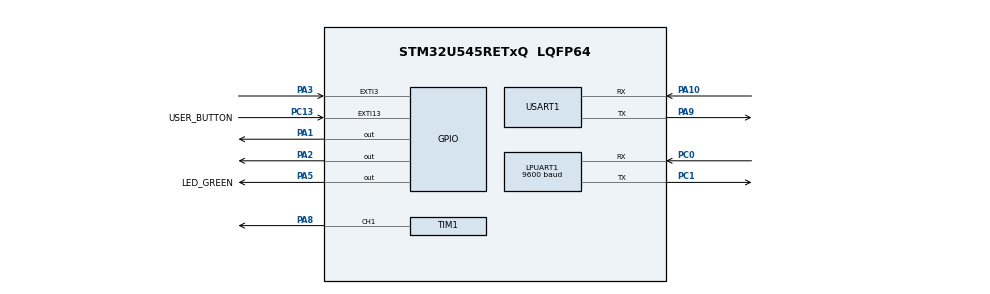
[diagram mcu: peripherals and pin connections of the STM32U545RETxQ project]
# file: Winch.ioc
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CORTEX_M33_NS.userName=CORTEX_M33
LPUART1.BaudRate=9600
Mcu.Family=STM32U5
Mcu.Name=STM32U545RETxQ
Mcu.Package=LQFP64
NVIC.LPUART1_IRQn=true\:0\:0\:false\:false\:true\:true\:true\:true
NVIC.PriorityGroup=NVIC_PRIORITYGROUP_4
NVIC.USART1_IRQn=true\:0\:0\:false\:false\:true\:true\:true\:true
PA1.Signal=GPIO_Output
PA10.Mode=Asynchronous
PA10.Signal=USART1_RX
PA2.Signal=GPIO_Output
PA3.GPIO_ModeDefaultEXTI=GPIO_MODE_IT_FALLING
PA3.GPIO_PuPd=GPIO_PULLUP
PA3.Signal=GPXTI3
PA5.GPIO_Label=LED_GREEN
PA5.GPIO_PuPd=GPIO_PULLUP
PA5.GPIO_Speed=GPIO_SPEED_FREQ_HIGH
PA5.Signal=GPIO_Output
PA8.Signal=S_TIM1_CH1
PA9.Mode=Asynchronous
PA9.Signal=USART1_TX
PC0.Mode=Asynchronous
PC0.Signal=LPUART1_RX
PC1.Mode=Asynchronous
PC1.Signal=LPUART1_TX
PC13.GPIO_Label=USER_BUTTON
PC13.GPIO_ModeDefaultEXTI=GPIO_MODE_IT_FALLING
PC13.GPIO_PuPd=GPIO_PULLDOWN
PC13.Signal=GPXTI13
PWR.PowerMode=PWR_SMPS_SUPPLY
ProjectManager.HeapSize=0x200
ProjectManager.StackSize=0x400
ProjectManager.TargetToolchain=STM32CubeIDE
RCC.ADCFreq_Value=16000000
RCC.DACCLockSelectionVirtual=RCC_DAC1CLKSOURCE_LSI
RCC.DACCLockSelectionVirtualString=RCC_DAC1CLKSOURCE_LSI
RCC.EPOD_VALUE=4000000
RCC.HSE_VALUE=16000000
RCC.HSI48_VALUE=48000000
RCC.HSI_VALUE=16000000
RCC.LSE_VALUE=32768
RCC.LSIDIV_VALUE=32000
RCC.MSI_VALUE=4000000
RCC.USBFreq_Value=48000000
RCC.VCOOutputFreq_Value=516000000
SH.S_TIM1_CH1.0=TIM1_CH1,PWM Generation1 CH1
TIM1.Channel-PWM\ Generation1\ CH1=TIM_CHANNEL_1
TIM1.PeriodNoDither=19999
TIM1.Prescaler=3
TIM1.PulseNoDither_1=1000
USART1.VirtualMode-Asynchronous=VM_ASYNC
VP_ICACHE_VS_ICACHE.Mode=DirectMappedCache
VP_LPBAMQUEUE_VS_QUEUE.Mode=QUEUEMODE
VP_LPBAM_VS_SIG1.Mode=SmartRun
VP_LPBAM_VS_SIG4.Mode=LPDMA1
VP_MEMORYMAP_VS_MEMORYMAP.Mode=CurAppReg
VP_NUCLEO-U545RE-Q_VS_BSP_COMMON.Mode=COMMON
VP_PWR_VS_LPOM.Mode=PowerOptimisation
VP_PWR_VS_SECSignals.Mode=Security/Privilege
VP_TIM1_VS_ClockSourceINT.Mode=Internal
board=NUCLEO-U545RE-Q

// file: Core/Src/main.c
/* USER CODE BEGIN Header */
/**
 ******************************************************************************
 * @file           : main.c
 * @brief          : Main program body
 ******************************************************************************
 * @attention
 *
 * Copyright (c) 2025 STMicroelectronics.
 * All rights reserved.
 *
 * This software is licensed under terms that can be found in the LICENSE file
 * in the root directory of this software component.
 * If no LICENSE file comes with this software, it is provided AS-IS.
 *
 ******************************************************************************
 */
/* USER CODE END Header */
#include "main.h"

/* USER CODE BEGIN Includes */
#include <string.h>
/* USER CODE END Includes */

/* USER CODE BEGIN PD */
#define RX_BUFFER_SIZE 16

#define DIR_PIN GPIO_PIN_1
#define DIR_PORT GPIOA
#define STEP_PIN GPIO_PIN_2
#define STEP_PORT GPIOA
/* USER CODE END PD */

UART_HandleTypeDef hlpuart1;
UART_HandleTypeDef huart1;

TIM_HandleTypeDef htim1;

/* USER CODE BEGIN PV */
uint8_t rx_buffer[RX_BUFFER_SIZE];
uint8_t rx_index = 0;

// ESC PWM range
uint16_t neutral_pwm_us     = 1500;
uint16_t forward_min_pwm_us = 1600;
uint16_t forward_max_pwm_us = 2000;
uint16_t reverse_min_pwm_us = 1400;
uint16_t reverse_max_pwm_us = 1000;

uint16_t global_pwm_us = 1500;  // current PWM signal (neutral)

int accel_steps = 100;
int decel_steps = 100;
uint8_t stopped = 1;
uint8_t direction = 0; // TODO: FIGURE OUT IF THIS IS CW OR CCW
uint8_t should_decel = 0;
uint8_t should_accel = 0;
uint8_t dropping = 0;

uint8_t ch;
uint8_t xb[3];
/* USER CODE END PV */

void SystemClock_Config(void);
static void SystemPower_Config(void);
static void MX_GPIO_Init(void);
static void MX_ICACHE_Init(void);
static void MX_TIM1_Init(void);
static void MX_USART1_UART_Init(void);
static void MX_LPUART1_UART_Init(void);

/* USER CODE BEGIN 0 */
/* === Brushless ESC Control === */
void setThrottle_us(uint16_t us)
{
    if (us < 1000) us = 1000;
    if (us > 2000) us = 2000;
    __HAL_TIM_SET_COMPARE(&htim1, TIM_CHANNEL_1, us);
}

/* Stop motor (neutral) */
void stop_motor(void)
{
	stopped = 1;
    setThrottle_us(1500);
}

/* Accelerate smoothly toward a target throttle (depends on direction) */
void accelerate_to_max(uint8_t direction, uint16_t start_us,
                       uint16_t target_us, int accel_steps)
{
    float pulse = start_us;
    float step_change = ((float)target_us - (float)start_us) / accel_steps;

    stopped = 0;
    for (int i = 0; i < accel_steps; i++) {
        if (stopped) return;  // Abort if stop command issued
        setThrottle_us((uint16_t)pulse);
        HAL_Delay(20); // ~50 Hz update rate
        pulse += step_change;
    }
    global_pwm_us = (uint16_t)pulse;
}

/* Decelerate smoothly toward min speed (depends on direction) */
void decelerate_to_min(uint8_t direction, uint16_t start_us,
                       uint16_t target_us, int decel_steps)
{
    float pulse = start_us;
    float step_change = ((float)target_us - (float)start_us) / decel_steps;

    for (int i = 0; i < decel_steps; i++) {
        if (stopped) return;
        setThrottle_us((uint16_t)pulse);
        HAL_Delay(20);
        pulse += step_change;
    }
    global_pwm_us = (uint16_t)pulse;
}

/* USER CODE END 0 */

int main(void)
{

  /* MCU Configuration--------------------------------------------------------*/

  /* Reset of all peripherals, Initializes the Flash interface and the Systick. */
  HAL_Init();

  /* Configure the System Power */
  SystemPower_Config();

  /* Configure the system clock */
  SystemClock_Config();

  /* Initialize all configured peripherals */
  MX_GPIO_Init();
  MX_ICACHE_Init();
  MX_TIM1_Init();
  MX_USART1_UART_Init();
  MX_LPUART1_UART_Init();
  /* USER CODE BEGIN 2 */
	HAL_TIM_PWM_Start(&htim1, TIM_CHANNEL_1); // Start PWM on PA8 (TIM1_CH1)
	__HAL_TIM_SET_COMPARE(&htim1, TIM_CHANNEL_1, 1500);
	HAL_Delay(2000);  // Wait 2s for ESC to arm
	HAL_TIM_Base_Start(&htim1);
	HAL_UART_Receive_IT(&huart1, &ch, 1);
	HAL_UART_Receive_IT(&hlpuart1, xb, 3);
  /* USER CODE END 2 */

  /* Infinite loop */
  /* USER CODE BEGIN WHILE */
	while (1) {
		if (dropping) {
		    HAL_Delay(2000);
		    dropping = 0;
		    should_accel = 1;
		}

		if (should_accel) {
		    if (direction == 0) {
		        // Going forward
		        accelerate_to_max(direction, forward_min_pwm_us, forward_max_pwm_us, accel_steps);
		    } else {
		        // Going reverse
		        accelerate_to_max(direction, reverse_min_pwm_us, reverse_max_pwm_us, accel_steps);
		    }
		    should_accel = 0;
		}

		if (should_decel) {
		    if (direction == 0) {
		        decelerate_to_min(direction, forward_max_pwm_us, forward_min_pwm_us, decel_steps);
		    } else {
		        decelerate_to_min(direction, reverse_max_pwm_us, reverse_min_pwm_us, decel_steps);
		    }
		    should_decel = 0;
		}

    /* USER CODE END WHILE */

	}
}

void SystemClock_Config(void)
{
  RCC_OscInitTypeDef RCC_OscInitStruct = {0};
  RCC_ClkInitTypeDef RCC_ClkInitStruct = {0};

  /** Configure the main internal regulator output voltage
  */
  if (HAL_PWREx_ControlVoltageScaling(PWR_REGULATOR_VOLTAGE_SCALE4) != HAL_OK)
  {
    Error_Handler();
  }

  /** Initializes the CPU, AHB and APB buses clocks
  */
  RCC_OscInitStruct.OscillatorType = RCC_OSCILLATORTYPE_MSI;
  RCC_OscInitStruct.MSIState = RCC_MSI_ON;
  RCC_OscInitStruct.MSICalibrationValue = RCC_MSICALIBRATION_DEFAULT;
  RCC_OscInitStruct.MSIClockRange = RCC_MSIRANGE_4;
  RCC_OscInitStruct.PLL.PLLState = RCC_PLL_NONE;
  if (HAL_RCC_OscConfig(&RCC_OscInitStruct) != HAL_OK)
  {
    Error_Handler();
  }

  /** Initializes the CPU, AHB and APB buses clocks
  */
  RCC_ClkInitStruct.ClockType = RCC_CLOCKTYPE_HCLK|RCC_CLOCKTYPE_SYSCLK
                              |RCC_CLOCKTYPE_PCLK1|RCC_CLOCKTYPE_PCLK2
                              |RCC_CLOCKTYPE_PCLK3;
  RCC_ClkInitStruct.SYSCLKSource = RCC_SYSCLKSOURCE_MSI;
  RCC_ClkInitStruct.AHBCLKDivider = RCC_SYSCLK_DIV1;
  RCC_ClkInitStruct.APB1CLKDivider = RCC_HCLK_DIV1;
  RCC_ClkInitStruct.APB2CLKDivider = RCC_HCLK_DIV1;
  RCC_ClkInitStruct.APB3CLKDivider = RCC_HCLK_DIV1;

  if (HAL_RCC_ClockConfig(&RCC_ClkInitStruct, FLASH_LATENCY_0) != HAL_OK)
  {
    Error_Handler();
  }
}

/**
  * @brief Power Configuration
  * @retval None
  */
static void SystemPower_Config(void)
{

  /*
   * Switch to SMPS regulator instead of LDO
   */
  if (HAL_PWREx_ConfigSupply(PWR_SMPS_SUPPLY) != HAL_OK)
  {
    Error_Handler();
  }
}

static void MX_ICACHE_Init(void)
{

  /** Enable instruction cache in 1-way (direct mapped cache)
  */
  if (HAL_ICACHE_ConfigAssociativityMode(ICACHE_1WAY) != HAL_OK)
  {
    Error_Handler();
  }
  if (HAL_ICACHE_Enable() != HAL_OK)
  {
    Error_Handler();
  }

}

static void MX_LPUART1_UART_Init(void)
{

  hlpuart1.Instance = LPUART1;
  hlpuart1.Init.BaudRate = 9600;
  hlpuart1.Init.WordLength = UART_WORDLENGTH_8B;
  hlpuart1.Init.StopBits = UART_STOPBITS_1;
  hlpuart1.Init.Parity = UART_PARITY_NONE;
  hlpuart1.Init.Mode = UART_MODE_TX_RX;
  hlpuart1.Init.HwFlowCtl = UART_HWCONTROL_NONE;
  hlpuart1.Init.OneBitSampling = UART_ONE_BIT_SAMPLE_DISABLE;
  hlpuart1.AdvancedInit.AdvFeatureInit = UART_ADVFEATURE_NO_INIT;
  hlpuart1.FifoMode = UART_FIFOMODE_DISABLE;
  if (HAL_UART_Init(&hlpuart1) != HAL_OK)
  {
    Error_Handler();
  }
  if (HAL_UARTEx_SetTxFifoThreshold(&hlpuart1, UART_TXFIFO_THRESHOLD_1_8) != HAL_OK)
  {
    Error_Handler();
  }
  if (HAL_UARTEx_SetRxFifoThreshold(&hlpuart1, UART_RXFIFO_THRESHOLD_1_8) != HAL_OK)
  {
    Error_Handler();
  }
  if (HAL_UARTEx_DisableFifoMode(&hlpuart1) != HAL_OK)
  {
    Error_Handler();
  }

}

static void MX_USART1_UART_Init(void)
{

  huart1.Instance = USART1;
  huart1.Init.BaudRate = 115200;
  huart1.Init.WordLength = UART_WORDLENGTH_8B;
  huart1.Init.StopBits = UART_STOPBITS_1;
  huart1.Init.Parity = UART_PARITY_NONE;
  huart1.Init.Mode = UART_MODE_TX_RX;
  huart1.Init.HwFlowCtl = UART_HWCONTROL_NONE;
  huart1.Init.OverSampling = UART_OVERSAMPLING_16;
  huart1.Init.OneBitSampling = UART_ONE_BIT_SAMPLE_DISABLE;
  huart1.Init.ClockPrescaler = UART_PRESCALER_DIV1;
  huart1.AdvancedInit.AdvFeatureInit = UART_ADVFEATURE_NO_INIT;
  if (HAL_UART_Init(&huart1) != HAL_OK)
  {
    Error_Handler();
  }
  if (HAL_UARTEx_SetTxFifoThreshold(&huart1, UART_TXFIFO_THRESHOLD_1_8) != HAL_OK)
  {
    Error_Handler();
  }
  if (HAL_UARTEx_SetRxFifoThreshold(&huart1, UART_RXFIFO_THRESHOLD_1_8) != HAL_OK)
  {
    Error_Handler();
  }
  if (HAL_UARTEx_DisableFifoMode(&huart1) != HAL_OK)
  {
    Error_Handler();
  }

}

static void MX_TIM1_Init(void)
{

  TIM_ClockConfigTypeDef sClockSourceConfig = {0};
  TIM_MasterConfigTypeDef sMasterConfig = {0};
  TIM_OC_InitTypeDef sConfigOC = {0};
  TIM_BreakDeadTimeConfigTypeDef sBreakDeadTimeConfig = {0};

  htim1.Instance = TIM1;
  htim1.Init.Prescaler = 3;
  htim1.Init.CounterMode = TIM_COUNTERMODE_UP;
  htim1.Init.Period = 19999;
  htim1.Init.ClockDivision = TIM_CLOCKDIVISION_DIV1;
  htim1.Init.RepetitionCounter = 0;
  htim1.Init.AutoReloadPreload = TIM_AUTORELOAD_PRELOAD_DISABLE;
  if (HAL_TIM_Base_Init(&htim1) != HAL_OK)
  {
    Error_Handler();
  }
  sClockSourceConfig.ClockSource = TIM_CLOCKSOURCE_INTERNAL;
  if (HAL_TIM_ConfigClockSource(&htim1, &sClockSourceConfig) != HAL_OK)
  {
    Error_Handler();
  }
  if (HAL_TIM_PWM_Init(&htim1) != HAL_OK)
  {
    Error_Handler();
  }
  sMasterConfig.MasterOutputTrigger = TIM_TRGO_RESET;
  sMasterConfig.MasterOutputTrigger2 = TIM_TRGO2_RESET;
  sMasterConfig.MasterSlaveMode = TIM_MASTERSLAVEMODE_DISABLE;
  if (HAL_TIMEx_MasterConfigSynchronization(&htim1, &sMasterConfig) != HAL_OK)
  {
    Error_Handler();
  }
  sConfigOC.OCMode = TIM_OCMODE_PWM1;
  sConfigOC.Pulse = 1000;
  sConfigOC.OCPolarity = TIM_OCPOLARITY_HIGH;
  sConfigOC.OCNPolarity = TIM_OCNPOLARITY_HIGH;
  sConfigOC.OCFastMode = TIM_OCFAST_DISABLE;
  sConfigOC.OCIdleState = TIM_OCIDLESTATE_RESET;
  sConfigOC.OCNIdleState = TIM_OCNIDLESTATE_RESET;
  if (HAL_TIM_PWM_ConfigChannel(&htim1, &sConfigOC, TIM_CHANNEL_1) != HAL_OK)
  {
    Error_Handler();
  }
  sBreakDeadTimeConfig.OffStateRunMode = TIM_OSSR_DISABLE;
  sBreakDeadTimeConfig.OffStateIDLEMode = TIM_OSSI_DISABLE;
  sBreakDeadTimeConfig.LockLevel = TIM_LOCKLEVEL_OFF;
  sBreakDeadTimeConfig.DeadTime = 0;
  sBreakDeadTimeConfig.BreakState = TIM_BREAK_DISABLE;
  sBreakDeadTimeConfig.BreakPolarity = TIM_BREAKPOLARITY_HIGH;
  sBreakDeadTimeConfig.BreakFilter = 0;
  sBreakDeadTimeConfig.BreakAFMode = TIM_BREAK_AFMODE_INPUT;
  sBreakDeadTimeConfig.Break2State = TIM_BREAK2_DISABLE;
  sBreakDeadTimeConfig.Break2Polarity = TIM_BREAK2POLARITY_HIGH;
  sBreakDeadTimeConfig.Break2Filter = 0;
  sBreakDeadTimeConfig.Break2AFMode = TIM_BREAK_AFMODE_INPUT;
  sBreakDeadTimeConfig.AutomaticOutput = TIM_AUTOMATICOUTPUT_DISABLE;
  if (HAL_TIMEx_ConfigBreakDeadTime(&htim1, &sBreakDeadTimeConfig) != HAL_OK)
  {
    Error_Handler();
  }
  HAL_TIM_MspPostInit(&htim1);

}

static void MX_GPIO_Init(void)
{
  GPIO_InitTypeDef GPIO_InitStruct = {0};

  /* GPIO Ports Clock Enable */
  __HAL_RCC_GPIOC_CLK_ENABLE();
  __HAL_RCC_GPIOA_CLK_ENABLE();

  /*Configure GPIO pin Output Level */
  HAL_GPIO_WritePin(GPIOA, GPIO_PIN_1|GPIO_PIN_2|LED_GREEN_Pin, GPIO_PIN_RESET);

  /*Configure GPIO pin : USER_BUTTON_Pin */
  GPIO_InitStruct.Pin = USER_BUTTON_Pin;
  GPIO_InitStruct.Mode = GPIO_MODE_IT_FALLING;
  GPIO_InitStruct.Pull = GPIO_PULLDOWN;
  HAL_GPIO_Init(USER_BUTTON_GPIO_Port, &GPIO_InitStruct);

  /*Configure GPIO pins : PA1 PA2 */
  GPIO_InitStruct.Pin = GPIO_PIN_1|GPIO_PIN_2;
  GPIO_InitStruct.Mode = GPIO_MODE_OUTPUT_PP;
  GPIO_InitStruct.Pull = GPIO_NOPULL;
  GPIO_InitStruct.Speed = GPIO_SPEED_FREQ_LOW;
  HAL_GPIO_Init(GPIOA, &GPIO_InitStruct);

  /*Configure GPIO pin : PA3 */
  GPIO_InitStruct.Pin = GPIO_PIN_3;
  GPIO_InitStruct.Mode = GPIO_MODE_IT_FALLING;
  GPIO_InitStruct.Pull = GPIO_PULLUP;
  HAL_GPIO_Init(GPIOA, &GPIO_InitStruct);

  /*Configure GPIO pin : LED_GREEN_Pin */
  GPIO_InitStruct.Pin = LED_GREEN_Pin;
  GPIO_InitStruct.Mode = GPIO_MODE_OUTPUT_PP;
  GPIO_InitStruct.Pull = GPIO_PULLUP;
  GPIO_InitStruct.Speed = GPIO_SPEED_FREQ_HIGH;
  HAL_GPIO_Init(LED_GREEN_GPIO_Port, &GPIO_InitStruct);

}

/* USER CODE BEGIN 4 */
void HAL_UART_RxCpltCallback(UART_HandleTypeDef *huart) {
	if (huart->Instance == USART1) {

		if (ch == 'G') {
			should_accel = 1;
//			global_delay = max_speed_delay_us;
//			stopped = 0;
		} else if (ch == 'S') {
			stop_motor();
			direction = !direction;
		}
		// Re-enable interrupt for next character
		HAL_UART_Receive_IT(&huart1, &ch, 1);
	} else if (huart->Instance == LPUART1) {
		char sensor = xb[0];
		if (sensor != 'A' && sensor != 'B') {
			HAL_UART_Receive_IT(&hlpuart1, xb, 3);
			return;
		}
		// SECOND TWO BYTES ARE DISTANCE
		uint16_t dist = (xb[1] << 8 | xb[2]);
		if ((direction == 0 && sensor == 'A') || (direction == 1 && sensor == 'B')) {
			if (dist < 500 && !stopped) {
				stop_motor();
				dropping = !direction; // if direction == 0, then we are dropping, otherwise we are back at the top
				direction = !direction;
			}
			else if (dist < 1500 && global_pwm_us != forward_min_pwm_us && global_pwm_us != reverse_min_pwm_us) {
				should_decel = 1;
			}
		}
		HAL_UART_Receive_IT(&hlpuart1, xb, 3);
	}
}

void HAL_GPIO_EXTI_Callback(uint16_t GPIO_Pin)
{
  if(GPIO_Pin == GPIO_PIN_3)
  {
	  stop_motor();
    direction = !direction;
  }
}
/* USER CODE END 4 */

void Error_Handler(void)
{
	__disable_irq();
	while (1) {
	}
}
